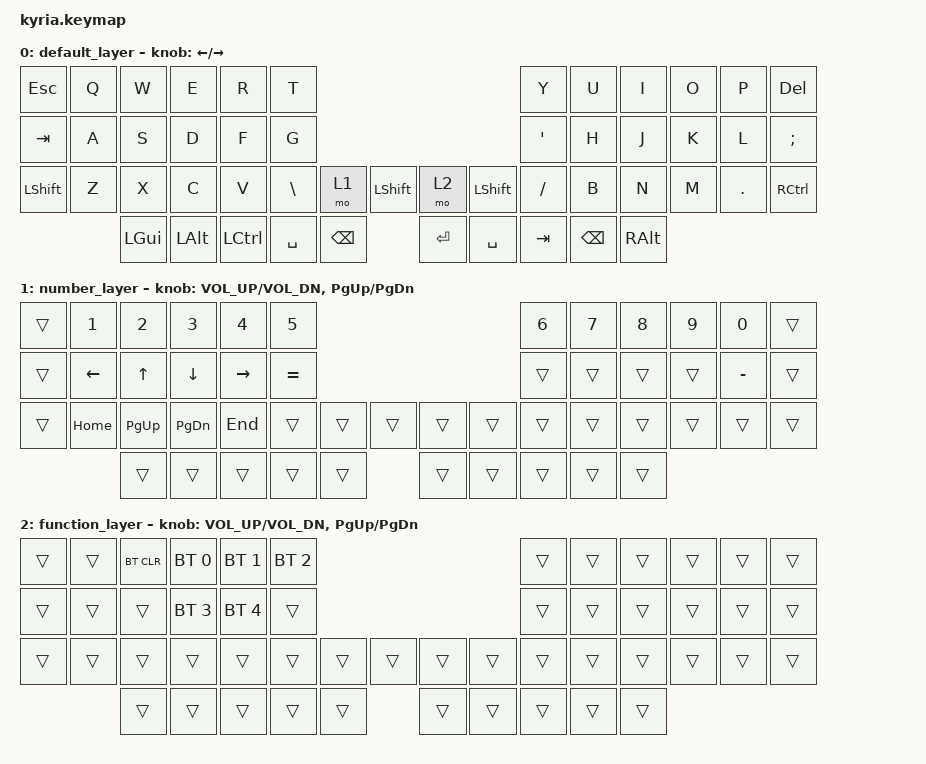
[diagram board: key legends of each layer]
/*
 * Copyright (c) 2020 The ZMK Contributors
 *
 * SPDX-License-Identifier: MIT
 */

#include <behaviors.dtsi>
#include <dt-bindings/zmk/bt.h>
#include <dt-bindings/zmk/keys.h>
#include <dt-bindings/zmk/rgb.h>

&left_encoder { resolution = <3>;};

/ {
    keymap {
        compatible = "zmk,keymap";

        default_layer {
// ---------------------------------------------------------------------------------------------------------------------------------
// |  ESC  |  Q  |  W  |  E   |  R   |  T   |                                          |  Y   |  U    |  I    |  O   |   P   |   \  |
// |  TAB  |  A  |  S  |  D   |  F   |  G   |                                          |  H   |  J    |  K    |  L   |   ;   |   '  |
// | SHIFT |  Z  |  X  |  C   |  V   |  B   | L SHIFT | L SHIFT |  | LAYER 1 | L SHIFT |  N   |  M    |  ,    |  .   |   /   | CTRL |
//                     | GUI  | DEL  | RET  |  SPACE  |   ESC   |  |   RET   |  SPACE  | TAB  | BSPC  | R-ALT |
            bindings = <
    &kp ESC   &kp Q &kp W &kp E &kp R &kp T                                                    &kp Y    &kp U    &kp I     &kp O   &kp P   &kp DEL
    &kp TAB   &kp A &kp S &kp D &kp F &kp G                                                    &kp SQT  &kp H    &kp J     &kp K   &kp L   &kp SEMI 
    &kp LSHFT &kp Z &kp X &kp C &kp V &kp BSLH  &mo 1     &kp LSHFT        &mo 2    &kp LSHFT  &kp FSLH &kp B    &kp N     &kp M   &kp DOT &kp RCTRL
                    &kp LGUI &kp LALT &kp LCTRL &kp SPACE &kp BSPC         &kp RET  &kp SPACE  &kp TAB  &kp BSPC &kp RALT
            >;

            sensor-bindings = <&inc_dec_kp LEFT RIGHT>;
        };
        number_layer {
// ---------------------------------------------------------------------------------------------------------------------------------
// |       |      |BT_CLR|BTSEL0|BTSEL1|BTSEL2|                                         |      |      |      |      |      |      |
// |       |      |      |BTSEL3|BTSEL4|      |                                         |      |      |      |      |      |      |
// |       |      |      |      |      |      |      |      |      |      |      |      |      |      |      |      |      |      |
//                       |      |      |      |      |      |      |      |      |      |      |      |      |
            bindings = <
    &trans &kp N1   &kp N2    &kp N3    &kp N4    &kp N5              		               &kp N6 &kp N7 &kp N8 &kp N9 &kp N0 &trans
    &trans &kp LEFT &kp UP    &kp DOWN  &kp RIGHT &kp EQUAL                                    &trans &trans &trans &trans &kp MINUS &trans
    &trans &kp HOME &kp PG_UP &kp PG_DN &kp END   &trans    &trans &trans        &trans &trans &trans &trans &trans &trans &trans &trans
                         &trans &trans &trans &trans &trans        &trans &trans &trans &trans &trans
            >;

            sensor-bindings = <&inc_dec_kp C_VOL_UP C_VOL_DN &inc_dec_kp PG_UP PG_DN>;
        };
        function_layer {
// ---------------------------------------------------------------------------------------------------------------------------------
// |       |      |BT_CLR|BTSEL0|BTSEL1|BTSEL2|                                         |      |      |      |      |      |      |
// |       |      |      |BTSEL3|BTSEL4|      |                                         |      |      |      |      |      |      |
// |       |      |      |      |      |      |      |      |      |      |      |      |      |      |      |      |      |      |
//                       |      |      |      |      |      |      |      |      |      |      |      |      |
            bindings = <
    &trans &trans &bt BT_CLR &bt BT_SEL 0 &bt BT_SEL 1 &bt BT_SEL 2              &trans &trans &trans &trans &trans &trans
    &trans &trans &trans     &bt BT_SEL 3 &bt BT_SEL 4 &trans                    &trans &trans &trans &trans &trans &trans
    &trans &trans &trans &trans &trans &trans &trans &trans        &trans &trans &trans &trans &trans &trans &trans &trans
                         &trans &trans &trans &trans &trans        &trans &trans &trans &trans &trans
            >;

            sensor-bindings = <&inc_dec_kp C_VOL_UP C_VOL_DN &inc_dec_kp PG_UP PG_DN>;
        };
    };
};
